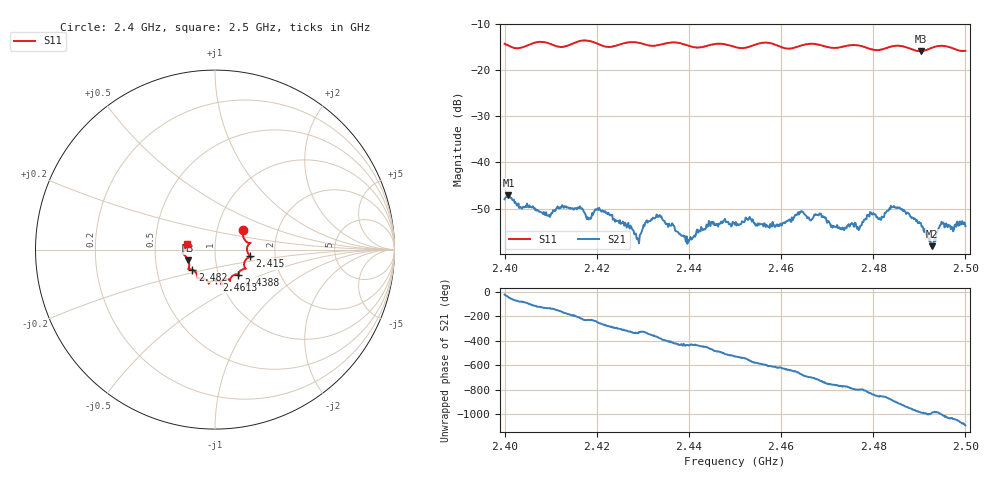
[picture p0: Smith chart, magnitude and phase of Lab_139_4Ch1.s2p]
# Hz S RI R 50
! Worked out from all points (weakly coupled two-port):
!   601 points, 2.4 GHz to 2.5 GHz, reference 50 ohm
!   highest |S21| = -47.17 dB at 2.4008 GHz (marker M1); lowest = -58.2 dB at 2.4927 GHz (marker M2)
!   lowest |S11| = -15.9 dB at 2.4903 GHz (marker M3), VSWR 1.38, Z = 36.8 - j4.45 ohm
!   |S11| at or under -10 dB: start of sweep to end of sweep
!   S12 and S22 are empty: the file has one direction only
!   S11 on the Smith chart (normalised r, x): 2.4 GHz: 1.33, +0.31; 2.415 GHz: 1.47, -0.11; 2.4388 GHz: 1.24, -0.36; 2.4613 GHz: 0.96, -0.34; 2.482 GHz: 0.76, -0.17; 2.5 GHz: 0.72, +0.05
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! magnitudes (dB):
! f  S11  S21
! 2.4 GHz  -14.3  -48.0
! 2.4008 GHz  -14.7  -47.2
! 2.4093 GHz  -14.1  -51.5
! 2.415 GHz  -14.1  -50.2
! 2.4167 GHz  -13.6  -50.0
! 2.4183 GHz  -13.7  -52.2
! 2.4202 GHz  -14.3  -50.0
! 2.4228 GHz  -15.0  -51.5
! 2.4288 GHz  -14.0  -56.5
! 2.4333 GHz  -14.6  -51.8
! 2.4388 GHz  -14.4  -55.8
! 2.45 GHz  -15.0  -53.5
! 2.4613 GHz  -15.3  -52.7
! 2.4642 GHz  -14.7  -50.9
! 2.4667 GHz  -14.3  -52.3
! 2.4733 GHz  -14.9  -54.1
! 2.482 GHz  -15.5  -51.9
! 2.4833 GHz  -15.0  -50.5
! 2.4903 GHz  -15.9  -53.2
! 2.4927 GHz  -15.2  -58.2
! 2.4948 GHz  -14.7  -52.9
! 2.5 GHz  -15.8  -53.8
